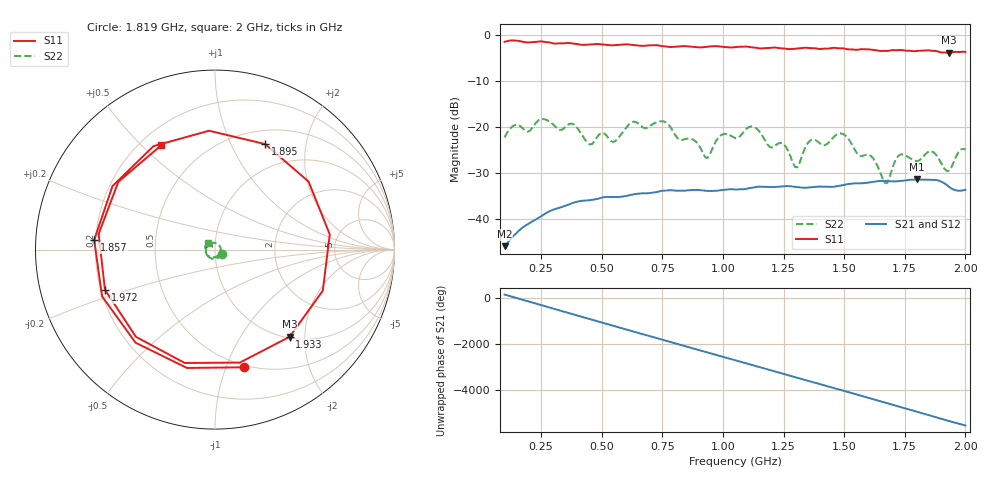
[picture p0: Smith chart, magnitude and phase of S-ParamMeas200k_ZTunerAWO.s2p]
!Keysight Technologies,N5242B,MY48420967,A.15.65.19
!Date: Monday, December 19, 2022 13:59:29
!Correction: S11(C  2-Port  )
!S21(C  2-Port  )
!S12(C  2-Port  )
!S22(C  2-Port  )
!S2P File: Measurements: S11, S21, S12, S22:
# Hz S  dB  R 50
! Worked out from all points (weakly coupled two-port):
!   201 points, 100 MHz to 2 GHz, reference 50 ohm
!   highest |S21| = -31.34 dB at 1.8 GHz (marker M1); lowest = -45.8 dB at 100 MHz (marker M2)
!   lowest |S11| = -3.9 dB at 1.933 GHz (marker M3), VSWR 4.55, Z = 51.2 - j84.2 ohm
!   |S11| at or under -10 dB: nowhere
!   |S22| runs from -32.2 to -18.3 dB; largest |S21 - S12| = 2.7e-05
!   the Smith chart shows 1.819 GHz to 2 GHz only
!   S11 on the Smith chart (normalised r, x): 1.819 GHz: 0.48, -1.16; 1.857 GHz: 0.19, +0.04; 1.895 GHz: 0.67, +1.36; 1.933 GHz: 1.02, -1.68; 1.972 GHz: 0.22, -0.17; 2 GHz: 0.28, +0.57
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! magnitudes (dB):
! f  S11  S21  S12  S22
! 100 MHz  -1.5  -45.8  -45.8  -22.2
! 252 MHz  -1.4  -39.3  -39.3  -18.3
! 423 MHz  -2.2  -36.0  -36.0  -22.0
! 546.5 MHz  -2.3  -35.2  -35.2  -23.2
! 622.5 MHz  -2.1  -34.7  -34.7  -19.0
! 736.5 MHz  -2.3  -34.0  -34.0  -18.8
! 936 MHz  -2.5  -33.8  -33.8  -26.7
! 993 MHz  -2.5  -33.7  -33.7  -21.7
! 1.05 GHz  -2.6  -33.5  -33.5  -22.4
! 1.126 GHz  -2.7  -33.1  -33.1  -19.9
! 1.306 GHz  -2.9  -33.0  -33.0  -28.7
! 1.373 GHz  -2.9  -33.0  -33.0  -22.7
! 1.496 GHz  -2.9  -32.6  -32.6  -21.5
! 1.687 GHz  -3.4  -31.7  -31.7  -31.0
! 1.724 GHz  -3.3  -31.7  -31.7  -26.2
! 1.8 GHz  -3.5  -31.3  -31.3  -27.4
! 1.819 GHz  -3.4  -31.4  -31.4  -26.8
! 1.857 GHz  -3.4  -31.4  -31.4  -25.2
! 1.895 GHz  -3.7  -31.7  -31.7  -27.4
! 1.933 GHz  -3.9  -33.0  -33.0  -29.4
! 1.972 GHz  -3.7  -33.8  -33.8  -25.4
! 2 GHz  -3.7  -33.6  -33.6  -24.9
